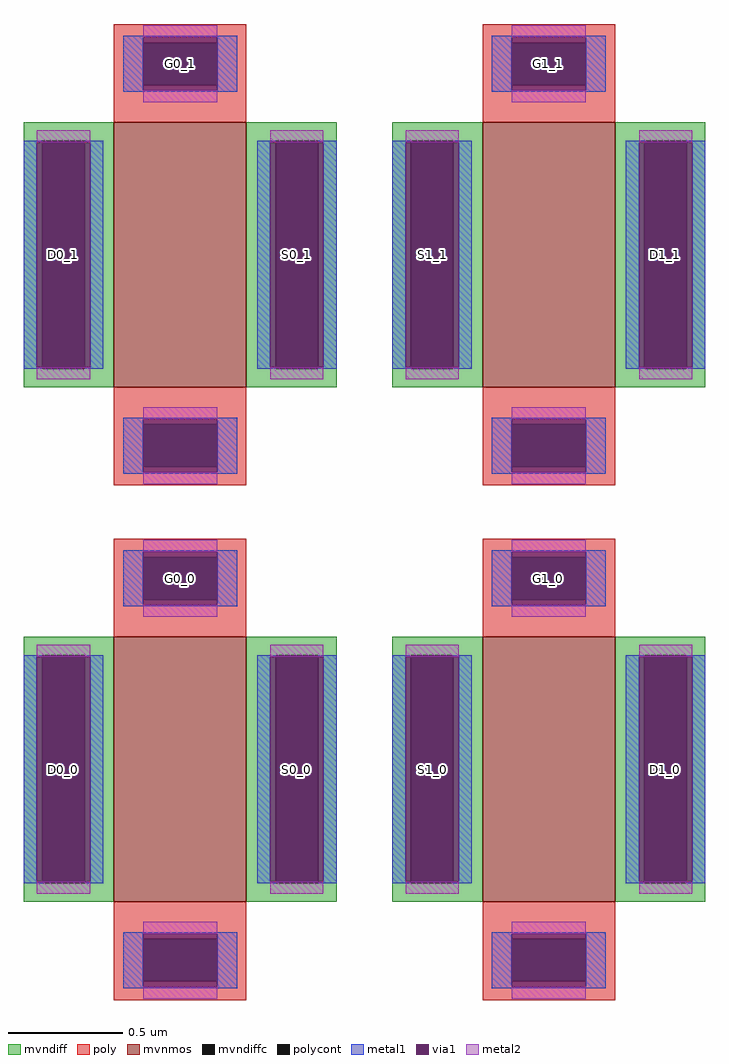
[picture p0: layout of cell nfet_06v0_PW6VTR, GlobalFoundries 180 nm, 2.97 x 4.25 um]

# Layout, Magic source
magic
tech gf180mcuD
magscale 3 26
<< mvnmos >>
rect -189 94 -89 294
rect 89 94 189 294
rect -189 -294 -89 -94
rect 89 -294 189 -94
<< mvndiff >>
rect -257 280 -189 294
rect -257 108 -243 280
rect -211 108 -189 280
rect -257 94 -189 108
rect -89 280 -21 294
rect -89 108 -67 280
rect -35 108 -21 280
rect -89 94 -21 108
rect 21 280 89 294
rect 21 108 35 280
rect 67 108 89 280
rect 21 94 89 108
rect 189 280 257 294
rect 189 108 211 280
rect 243 108 257 280
rect 189 94 257 108
rect -257 -108 -189 -94
rect -257 -280 -243 -108
rect -211 -280 -189 -108
rect -257 -294 -189 -280
rect -89 -108 -21 -94
rect -89 -280 -67 -108
rect -35 -280 -21 -108
rect -89 -294 -21 -280
rect 21 -108 89 -94
rect 21 -280 35 -108
rect 67 -280 89 -108
rect 21 -294 89 -280
rect 189 -108 257 -94
rect 189 -280 211 -108
rect 243 -280 257 -108
rect 189 -294 257 -280
<< mvndiffc >>
rect -243 108 -211 280
rect -67 108 -35 280
rect 35 108 67 280
rect 211 108 243 280
rect -243 -280 -211 -108
rect -67 -280 -35 -108
rect 35 -280 67 -108
rect 211 -280 243 -108
<< poly >>
rect -189 354 -89 368
rect -189 322 -167 354
rect -111 322 -89 354
rect -189 294 -89 322
rect 89 354 189 368
rect 89 322 111 354
rect 167 322 189 354
rect 89 294 189 322
rect -189 66 -89 94
rect -189 34 -167 66
rect -111 34 -89 66
rect -189 20 -89 34
rect 89 66 189 94
rect 89 34 111 66
rect 167 34 189 66
rect 89 20 189 34
rect -189 -34 -89 -20
rect -189 -66 -167 -34
rect -111 -66 -89 -34
rect -189 -94 -89 -66
rect 89 -34 189 -20
rect 89 -66 111 -34
rect 167 -66 189 -34
rect 89 -94 189 -66
rect -189 -322 -89 -294
rect -189 -354 -167 -322
rect -111 -354 -89 -322
rect -189 -368 -89 -354
rect 89 -322 189 -294
rect 89 -354 111 -322
rect 167 -354 189 -322
rect 89 -368 189 -354
<< polycont >>
rect -167 322 -111 354
rect 111 322 167 354
rect -167 34 -111 66
rect 111 34 167 66
rect -167 -66 -111 -34
rect 111 -66 167 -34
rect -167 -354 -111 -322
rect 111 -354 167 -322
<< metal1 >>
rect -182 358 -96 359
rect -182 318 -167 358
rect -111 318 -96 358
rect -182 317 -96 318
rect 96 358 182 359
rect 96 318 111 358
rect 167 318 182 358
rect 96 317 182 318
rect -257 279 -243 280
rect -211 279 -197 280
rect -257 109 -247 279
rect -207 109 -197 279
rect -257 108 -243 109
rect -211 108 -197 109
rect -81 279 -67 280
rect -35 279 -21 280
rect -81 109 -71 279
rect -31 109 -21 279
rect -81 108 -67 109
rect -35 108 -21 109
rect 21 279 35 280
rect 67 279 81 280
rect 21 109 31 279
rect 71 109 81 279
rect 21 108 35 109
rect 67 108 81 109
rect 197 279 211 280
rect 243 279 257 280
rect 197 109 207 279
rect 247 109 257 279
rect 197 108 211 109
rect 243 108 257 109
rect -182 70 -96 71
rect -182 30 -167 70
rect -111 30 -96 70
rect -182 29 -96 30
rect 96 70 182 71
rect 96 30 111 70
rect 167 30 182 70
rect 96 29 182 30
rect -182 -30 -96 -29
rect -182 -70 -167 -30
rect -111 -70 -96 -30
rect -182 -71 -96 -70
rect 96 -30 182 -29
rect 96 -70 111 -30
rect 167 -70 182 -30
rect 96 -71 182 -70
rect -257 -109 -243 -108
rect -211 -109 -197 -108
rect -257 -279 -247 -109
rect -207 -279 -197 -109
rect -257 -280 -243 -279
rect -211 -280 -197 -279
rect -81 -109 -67 -108
rect -35 -109 -21 -108
rect -81 -279 -71 -109
rect -31 -279 -21 -109
rect -81 -280 -67 -279
rect -35 -280 -21 -279
rect 21 -109 35 -108
rect 67 -109 81 -108
rect 21 -279 31 -109
rect 71 -279 81 -109
rect 21 -280 35 -279
rect 67 -280 81 -279
rect 197 -109 211 -108
rect 243 -109 257 -108
rect 197 -279 207 -109
rect 247 -279 257 -109
rect 197 -280 211 -279
rect 243 -280 257 -279
rect -182 -318 -96 -317
rect -182 -358 -167 -318
rect -111 -358 -96 -318
rect -182 -359 -96 -358
rect 96 -318 182 -317
rect 96 -358 111 -318
rect 167 -358 182 -318
rect 96 -359 182 -358
<< via1 >>
rect -167 354 -111 358
rect -167 322 -111 354
rect -167 318 -111 322
rect 111 354 167 358
rect 111 322 167 354
rect 111 318 167 322
rect -247 109 -243 279
rect -243 109 -211 279
rect -211 109 -207 279
rect -71 109 -67 279
rect -67 109 -35 279
rect -35 109 -31 279
rect 31 109 35 279
rect 35 109 67 279
rect 67 109 71 279
rect 207 109 211 279
rect 211 109 243 279
rect 243 109 247 279
rect -167 66 -111 70
rect -167 34 -111 66
rect -167 30 -111 34
rect 111 66 167 70
rect 111 34 167 66
rect 111 30 167 34
rect -167 -34 -111 -30
rect -167 -66 -111 -34
rect -167 -70 -111 -66
rect 111 -34 167 -30
rect 111 -66 167 -34
rect 111 -70 167 -66
rect -247 -279 -243 -109
rect -243 -279 -211 -109
rect -211 -279 -207 -109
rect -71 -279 -67 -109
rect -67 -279 -35 -109
rect -35 -279 -31 -109
rect 31 -279 35 -109
rect 35 -279 67 -109
rect 67 -279 71 -109
rect 207 -279 211 -109
rect 211 -279 243 -109
rect 243 -279 247 -109
rect -167 -322 -111 -318
rect -167 -354 -111 -322
rect -167 -358 -111 -354
rect 111 -322 167 -318
rect 111 -354 167 -322
rect 111 -358 167 -354
<< metal2 >>
rect -167 358 -111 367
rect -167 309 -111 318
rect 111 358 167 367
rect 111 309 167 318
rect -247 279 -207 288
rect -247 100 -207 109
rect -71 279 -31 288
rect -71 100 -31 109
rect 31 279 71 288
rect 31 100 71 109
rect 207 279 247 288
rect 207 100 247 109
rect -167 70 -111 79
rect -167 21 -111 30
rect 111 70 167 79
rect 111 21 167 30
rect -167 -30 -111 -21
rect -167 -79 -111 -70
rect 111 -30 167 -21
rect 111 -79 167 -70
rect -247 -109 -207 -100
rect -247 -288 -207 -279
rect -71 -109 -31 -100
rect -71 -288 -31 -279
rect 31 -109 71 -100
rect 31 -288 71 -279
rect 207 -109 247 -100
rect 207 -288 247 -279
rect -167 -318 -111 -309
rect -167 -367 -111 -358
rect 111 -318 167 -309
rect 111 -367 167 -358
<< labels >>
rlabel mvndiffc -227 -194 -227 -194 0 D0_0
port 1 nsew
rlabel mvndiffc -51 -194 -51 -194 0 S0_0
port 2 nsew
rlabel polycont -139 -50 -139 -50 0 G0_0
port 3 nsew
rlabel mvndiffc -227 194 -227 194 0 D0_1
port 4 nsew
rlabel mvndiffc -51 194 -51 194 0 S0_1
port 5 nsew
rlabel polycont -139 338 -139 338 0 G0_1
port 6 nsew
rlabel mvndiffc 227 -194 227 -194 0 D1_0
port 7 nsew
rlabel mvndiffc 51 -194 51 -194 0 S1_0
port 8 nsew
rlabel polycont 139 -50 139 -50 0 G1_0
port 9 nsew
rlabel mvndiffc 227 194 227 194 0 D1_1
port 10 nsew
rlabel mvndiffc 51 194 51 194 0 S1_1
port 11 nsew
rlabel polycont 139 338 139 338 0 G1_1
port 12 nsew
<< properties >>
string gencell nfet_05v0
string library gf180mcu
string parameters w 1.0 l 0.5 m 2 ng 2 diffcov 100 polycov 100 guard 0 glc 1 grc 1 gtc 1 gbc 1 tbcov 100 rlcov 100 topc 1 botc 1 poverlap 0 doverlap 0 lmin 0.45 wmin 0.15 class mosfet compatible {nfet_05v0 nfet_06v0} full_metal 1 conn_gates 0 gate_ring 0 doports 1 viasrc 100 viadrn 100 viagate 100 ccols 1 viagb 0 viagr 0 viagl 0 viagt 0
<< end >>
